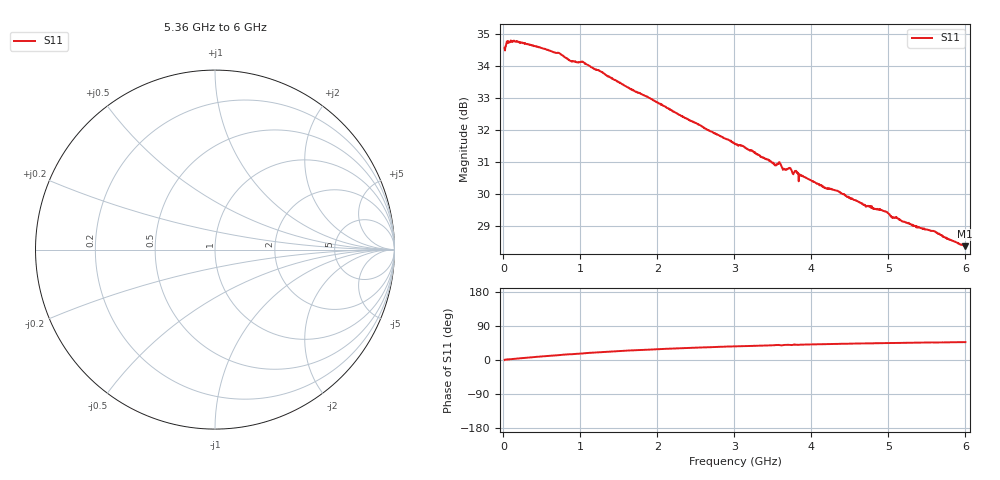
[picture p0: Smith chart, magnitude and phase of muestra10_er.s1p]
! NanoVNA-UTN-Toolkit permittivity export -- NOT S-parameters
! ES: Permitividad relativa compleja de la muestra. NO es S11: se guarda en
! ES: formato Touchstone solo para poder graficarla con visores de .s1p.
! EN: Complex relative permittivity of the sample. NOT S11: the Touchstone
! EN: format is used only so that .s1p viewers can plot it.
! Columns / Columnas: f (Hz) | eps' | eps'' (loss >= 0); eps_r = eps' - j*eps''
! Sample / Muestra: muestra10
! Technique / Tecnica: Open-ended coaxial probe (liquids)
! References / Referencias: water + ipa
! Probe / Sonda: 3 mm probe (C0 0.019 pF)
! Temperature / Temperatura: 23.0 °C
! Reliable from 45 MHz: points below are not reliable / Confiable desde 45 MHz: los puntos inferiores no son confiables
! Spike removal replaced 1 isolated S11 point(s) before solving / La remocion de picos reemplazo 1 punto(s) aislado(s) de S11
! 2 point(s) without a solution omitted / 2 punto(s) sin solucion omitidos
! Exported / Exportado: 2026-10-24T12:28:36
# Hz S RI R 50
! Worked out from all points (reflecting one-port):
!   1198 points, 15 MHz to 6 GHz, reference 50 ohm
!   lowest |S11| = 28.4 dB at 5.995 GHz (marker M1)
!   phase of S11 starts at 0 deg and turns +47 deg over the sweep
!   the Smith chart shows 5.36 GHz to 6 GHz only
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1.5e7  53.49 0.1482
7e7  54.69 1.614
1.6e8  54.72 3.314
3.8e8  53.56 7.045
7.15e8  51.3 11.67
7.65e8  50.65 12.51
8.65e8  49.36 13.43
9.75e8  48.77 14.26
1.025e9  48.72 15.07
1.12e9  47.51 16.22
1.515e9  43.26 19.07
1.78e9  40.72 20.18
2.26e9  36.23 21.74
3.01e9  30.69 22.23
3.5e9  27.56 22.13
3.565e9  27.24 22.45
3.62e9  27 21.9
3.655e9  26.58 22.08
3.7e9  26.55 22.36
3.73e9  26.73 22.13
3.76e9  26.09 21.85
3.795e9  26.24 22.2
3.84e9  25.91 21.98
4.145e9  24.35 21.64
4.505e9  22.79 21.27
5.255e9  19.92 20.35
5.995e9  17.8 19.27
6e9  17.85 19.25
